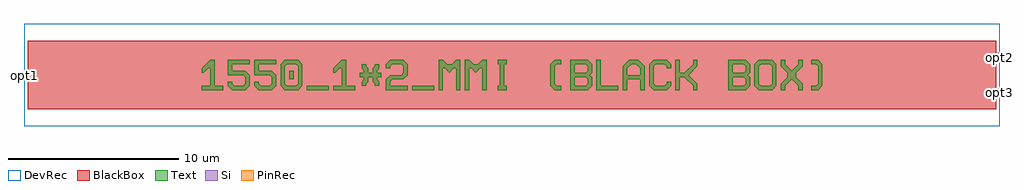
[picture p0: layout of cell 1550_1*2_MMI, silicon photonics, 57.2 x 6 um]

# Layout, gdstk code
import gdstk
lib = gdstk.Library(unit=1e-6, precision=1e-09)
def R(c, l, rs):  # rectangles x0, y0, x1, y1
    for r in rs: c.add(gdstk.rectangle(r[:2], r[2:], *l))
def P(c, l, *ps):  # polygons
    for p in ps: c.add(gdstk.Polygon(p, *l))
Si = (1, 0)
PinRec = (1, 10)
Text = (10, 0)
DevRec = (68, 0)
BlackBox = (998, 0)

text = lib.new_cell('TEXT')
R(text, Text, [(6.172,0,7.458,0.257), (12.344,0,13.63,0.257), (5.143,0.643,5.4,1.157)])
P(text, Text, [(0,0),(0,0.257),(0.514,0.257),(0.514,1.286),(0.386,1.286),(0.129,1.029),(0,1.029),(0,1.286),(0.514,1.8),(0.771,1.8),(0.771,0.257),(1.286,0.257),(1.286,0)],
  [(1.8,0),(1.543,0.257),(1.543,0.514),(1.8,0.514),(1.8,0.386),(1.929,0.257),(2.443,0.257),(2.572,0.386),(2.572,0.771),(2.443,0.9),(1.543,0.9),(1.543,1.8),(2.829,1.8),(2.829,1.543),(1.8,1.543),(1.8,1.157),(2.572,1.157),(2.829,0.9),(2.829,0.257),(2.572,0)],
  [(3.343,0),(3.086,0.257),(3.086,0.514),(3.343,0.514),(3.343,0.386),(3.472,0.257),(3.986,0.257),(4.115,0.386),(4.115,0.771),(3.986,0.9),(3.086,0.9),(3.086,1.8),(4.372,1.8),(4.372,1.543),(3.343,1.543),(3.343,1.157),(4.115,1.157),(4.372,0.9),(4.372,0.257),(4.115,0)],
  [(4.886,0),(4.629,0.257),(4.629,1.543),(4.886,1.8),(5.658,1.8),(5.915,1.543),(5.015,1.543),(4.886,1.414),(4.886,0.386),(5.015,0.257),(5.529,0.257),(5.658,0.386),(5.658,1.414),(5.529,1.543),(5.915,1.543),(5.915,0.257),(5.658,0)],
  [(7.715,0),(7.715,0.257),(8.229,0.257),(8.229,1.286),(8.101,1.286),(7.844,1.029),(7.715,1.029),(7.715,1.286),(8.229,1.8),(8.486,1.8),(8.486,0.257),(9.001,0.257),(9.001,0)],
  [(9.387,0.257),(9.387,0.514),(9.515,0.643),(9.515,0.771),(9.258,0.771),(9.258,1.029),(9.515,1.029),(9.515,1.157),(9.387,1.286),(9.387,1.543),(9.644,1.543),(9.644,1.414),(9.772,1.286),(9.772,1.029),(10.029,1.029),(10.029,1.286),(10.158,1.414),(10.158,1.543),(10.415,1.543),(10.415,1.286),(10.287,1.157),(10.287,1.029),(10.544,1.029),(10.544,0.771),(10.287,0.771),(10.287,0.643),(10.415,0.514),(10.415,0.257),(10.158,0.257),(10.158,0.386),(10.029,0.514),(10.029,0.771),(9.772,0.771),(9.772,0.514),(9.644,0.386),(9.644,0.257)],
  [(10.801,0),(10.801,0.643),(11.058,0.9),(11.701,0.9),(11.83,1.029),(11.83,1.414),(11.701,1.543),(11.187,1.543),(11.058,1.414),(11.058,1.286),(10.801,1.286),(10.801,1.543),(11.058,1.8),(11.83,1.8),(12.087,1.543),(12.087,0.9),(11.83,0.643),(11.187,0.643),(11.058,0.514),(11.058,0.257),(12.087,0.257),(12.087,0)],
  [(13.887,0),(13.887,1.8),(14.144,1.8),(14.401,1.543),(14.658,1.543),(14.916,1.8),(15.173,1.8),(15.173,0),(14.916,0),(14.916,1.286),(14.787,1.286),(14.53,1.029),(14.273,1.286),(14.144,1.286),(14.144,0)],
  [(15.43,0),(15.43,1.8),(15.687,1.8),(15.944,1.543),(16.201,1.543),(16.459,1.8),(16.716,1.8),(16.716,0),(16.459,0),(16.459,1.286),(16.33,1.286),(16.073,1.029),(15.816,1.286),(15.687,1.286),(15.687,0)],
  [(17.359,0),(17.359,0.257),(17.487,0.257),(17.487,1.543),(17.359,1.543),(17.359,1.8),(17.873,1.8),(17.873,1.543),(17.744,1.543),(17.744,0.257),(17.873,0.257),(17.873,0)],
  [(20.702,0),(20.445,0.257),(20.445,1.543),(20.702,1.8),(21.088,1.8),(21.088,1.543),(20.83,1.543),(20.702,1.414),(20.702,0.386),(20.83,0.257),(21.088,0.257),(21.088,0)],
  [(21.602,0),(21.602,1.8),(22.631,1.8),(22.888,1.543),(21.859,1.543),(21.859,1.029),(22.502,1.029),(22.631,1.157),(22.631,1.414),(22.502,1.543),(22.888,1.543),(22.888,1.029),(22.759,0.9),(22.888,0.771),(21.859,0.771),(21.859,0.257),(22.502,0.257),(22.631,0.386),(22.631,0.643),(22.502,0.771),(22.888,0.771),(22.888,0.257),(22.631,0)],
  [(23.145,0),(23.145,1.8),(23.402,1.8),(23.402,0.257),(24.431,0.257),(24.431,0)],
  [(24.688,0),(24.688,1.414),(25.074,1.8),(25.588,1.8),(25.845,1.543),(25.202,1.543),(24.945,1.286),(24.945,0.9),(25.717,0.9),(25.717,1.286),(25.459,1.543),(25.845,1.543),(25.974,1.414),(25.974,0),(25.717,0),(25.717,0.643),(24.945,0.643),(24.945,0)],
  [(26.488,0),(26.231,0.257),(26.231,1.543),(26.488,1.8),(27.26,1.8),(27.517,1.543),(27.517,1.286),(27.26,1.286),(27.26,1.414),(27.131,1.543),(26.617,1.543),(26.488,1.414),(26.488,0.386),(26.617,0.257),(27.131,0.257),(27.26,0.386),(27.26,0.514),(27.517,0.514),(27.517,0.257),(27.26,0)],
  [(27.774,0),(27.774,1.8),(28.031,1.8),(28.031,1.029),(28.288,1.029),(28.803,1.543),(28.803,1.8),(29.06,1.8),(29.06,1.414),(28.545,0.9),(29.06,0.386),(29.06,0),(28.803,0),(28.803,0.257),(28.288,0.771),(28.031,0.771),(28.031,0)],
  [(30.86,0),(30.86,1.8),(31.889,1.8),(32.146,1.543),(31.117,1.543),(31.117,1.029),(31.76,1.029),(31.889,1.157),(31.889,1.414),(31.76,1.543),(32.146,1.543),(32.146,1.029),(32.017,0.9),(32.146,0.771),(31.117,0.771),(31.117,0.257),(31.76,0.257),(31.889,0.386),(31.889,0.643),(31.76,0.771),(32.146,0.771),(32.146,0.257),(31.889,0)],
  [(32.66,0),(32.403,0.257),(32.403,1.543),(32.66,1.8),(33.432,1.8),(33.689,1.543),(33.689,0.9),(33.432,0.9),(33.432,1.414),(33.303,1.543),(32.789,1.543),(32.66,1.414),(32.66,0.386),(32.789,0.257),(33.303,0.257),(33.432,0.386),(33.432,0.9),(33.689,0.9),(33.689,0.257),(33.432,0)],
  [(33.946,0),(33.946,0.386),(34.332,0.771),(34.332,1.029),(33.946,1.414),(33.946,1.8),(34.203,1.8),(34.203,1.543),(34.589,1.157),(34.975,1.543),(34.975,1.8),(35.232,1.8),(35.232,1.414),(34.846,1.029),(34.846,0.771),(35.232,0.386),(35.232,0),(34.975,0),(34.975,0.257),(34.589,0.643),(34.203,0.257),(34.203,0)],
  [(35.746,0),(35.746,0.257),(36.003,0.257),(36.132,0.386),(36.132,1.414),(36.003,1.543),(35.746,1.543),(35.746,1.8),(36.132,1.8),(36.389,1.543),(36.389,0.257),(36.132,0)])

c_1550_1_2_mmi = lib.new_cell('1550_1*2_MMI')
R(c_1550_1_2_mmi, Si, [(28.39,-1.3,28.59,-0.8), (-28.59,-0.25,-28.39,0.25), (28.39,0.8,28.59,1.3)])
R(c_1550_1_2_mmi, DevRec, [(-28.59,-3,28.59,3)])
R(c_1550_1_2_mmi, BlackBox, [(-28.39,-2,28.39,2)])
c_1550_1_2_mmi.add(gdstk.FlexPath([(-28.58,0),(-28.6,0)], 0.5, ends="flush", simple_path=True, layer=1, datatype=10))  # PinRec
c_1550_1_2_mmi.add(gdstk.FlexPath([(28.58,1.05),(28.6,1.05)], 0.5, ends="flush", simple_path=True, layer=1, datatype=10))  # PinRec
c_1550_1_2_mmi.add(gdstk.FlexPath([(28.58,-1.05),(28.6,-1.05)], 0.5, ends="flush", simple_path=True, layer=1, datatype=10))  # PinRec
c_1550_1_2_mmi.add(gdstk.Reference(text, (-18.194,-0.9)))
c_1550_1_2_mmi.add(gdstk.Label('opt1', (-28.59,0), layer=1, texttype=10))
c_1550_1_2_mmi.add(gdstk.Label('opt2', (28.59,1.05), layer=1, texttype=10))
c_1550_1_2_mmi.add(gdstk.Label('opt3', (28.59,-1.05), layer=1, texttype=10))

lib.write_gds('1550_1_2_MMI.gds')
